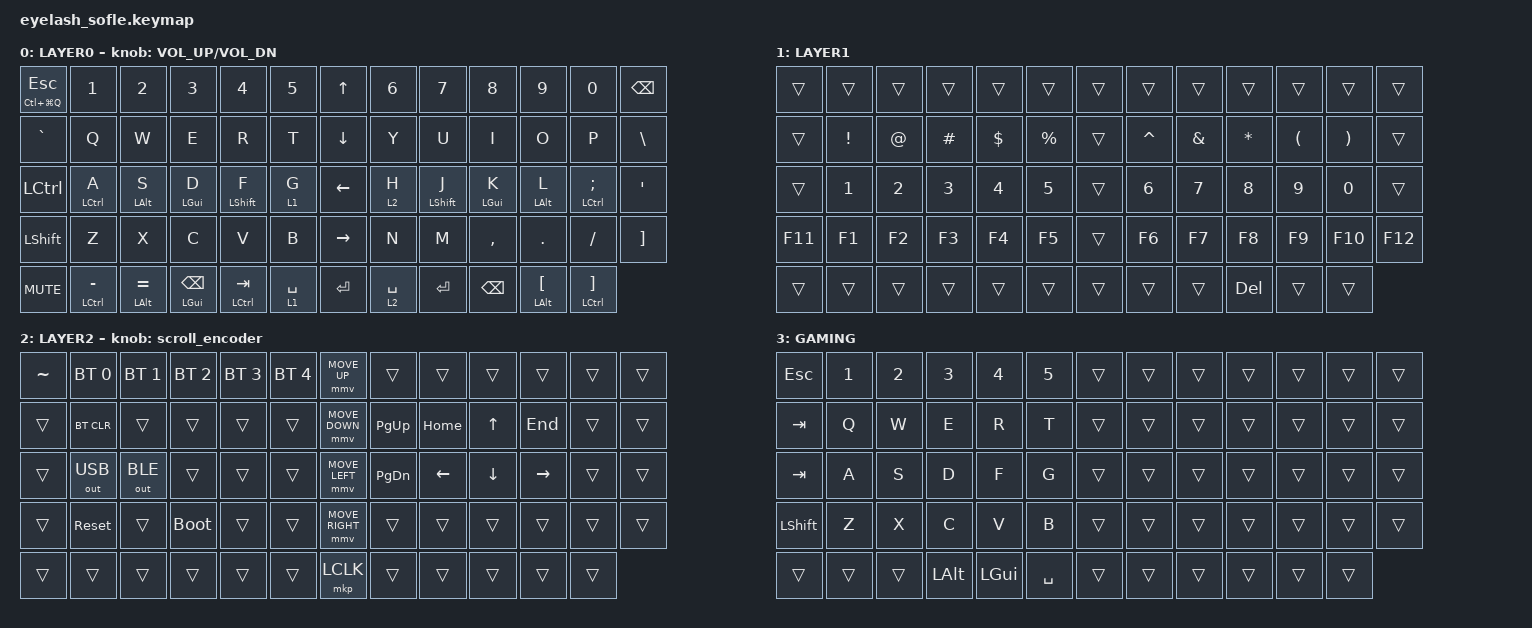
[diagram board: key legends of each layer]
#define ZMK_POINTING_DEFAULT_MOVE_VAL 1200  // 600
#define ZMK_POINTING_DEFAULT_SCRL_VAL 25   // 10

#include <input/processors.dtsi>
#include <zephyr/dt-bindings/input/input-event-codes.h>
#include <behaviors.dtsi>
#include <dt-bindings/zmk/bt.h>
#include <dt-bindings/zmk/keys.h>
#include <dt-bindings/zmk/outputs.h>
#include <dt-bindings/zmk/pointing.h>
#include <dt-bindings/zmk/rgb.h>

&mmv_input_listener { input-processors = <&zip_xy_scaler 2 1>; };

&msc_input_listener { input-processors = <&zip_scroll_scaler 2 1>; };

&msc {
    acceleration-exponent = <1>;      // 0
    time-to-max-speed-ms = <100>;       // 300
    delay-ms = <0>;                   // 0
};

&mmv {
    time-to-max-speed-ms = <500>;
    acceleration-exponent = <1>;
    trigger-period-ms = <16>;
};

/ {
    macros {
        flash_macro: flash_macro {
            compatible = "zmk,behavior-macro";
            #binding-cells = <0>;
            bindings = <&bootloader>;
        };
    };

    behaviors {
        hm: homerow_mods {
            compatible = "zmk,behavior-hold-tap";
            label = "HOMEROW_MODS";
            bindings = <&kp>, <&kp>;

            #binding-cells = <2>;
            tapping-term-ms = <200>;
            quick-tap-ms = <180>;
            flavor = "tap-preferred";
        };

        ltq: ltq {
            compatible = "zmk,behavior-hold-tap";
            label = "LTQ";
            bindings = <&mo>, <&kp>;

            #binding-cells = <2>;
            tapping-term-ms = <200>;
            quick-tap-ms = <180>;
        };

        as: auto_shift {
            compatible = "zmk,behavior-hold-tap";
            label = "AUTO_SHIFT";
            bindings = <&kp>, <&kp>;

            #binding-cells = <2>;
            tapping-term-ms = <135>;
            quick-tap-ms = <0>;
        };

        rgb_encoder: rgb_encoder {
            compatible = "zmk,behavior-sensor-rotate";
            label = "RGB_ENCODER";
            #sensor-binding-cells = <0>;
            bindings = <&rgb_ug RGB_BRI>, <&rgb_ug RGB_BRD>;
        };

        scroll_encoder: scroll_encoder {
            compatible = "zmk,behavior-sensor-rotate";
            #sensor-binding-cells = <0>;
            bindings = <&msc SCRL_UP>, <&msc SCRL_DOWN>;

            tap-ms = <100>;
        };

        td_caps: tap_dance_caps {
            compatible = "zmk,behavior-tap-dance";
            label = "TAP_DANCE_CAPS";
            #binding-cells = <0>;
            tapping-term-ms = <200>;
            bindings = <&kp LSHFT>, <&kp CAPS>;
        };
    };

    combos {
        compatible = "zmk,combos";

        symbol_square_open {
            bindings = <&kp LEFT_BRACKET>;
            key-positions = <17 16>;
        };

        symbol_square_close {
            bindings = <&kp RIGHT_BRACKET>;
            key-positions = <21 22>;
        };

        symbol_paren_open {
            bindings = <&kp LPAR>;
            key-positions = <29 30>;
        };

        symbol_paren_close {
            bindings = <&kp RPAR>;
            key-positions = <34 35>;
        };

        symbol_brace_open {
            bindings = <&kp LBRC>;
            key-positions = <43 42>;
        };

        symbol_brace_close {
            bindings = <&kp RBRC>;
            key-positions = <47 48>;
        };

        layout_left {
            bindings = <&kp LC(SPACE)>;
            key-positions = <30 31>;
        };

        layout_center {
            bindings = <&kp LC(SPACE)>;
            key-positions = <30 34>;
        };

        layout_right {
            bindings = <&kp LC(LA(SPACE))>;
            key-positions = <33 34>;
        };

        caps_home {
            bindings = <&kp CAPSLOCK>;
            key-positions = <31 33>;
        };

        layer_toggle_left {
            bindings = <&tog 1>;
            key-positions = <59 60>;
        };

        layer_toggle_right {
            bindings = <&tog 1>;
            key-positions = <63 62>;
        };

        gaming_toggle {
            bindings = <&tog 3>;
            key-positions = <57 30 29 28 27>;
        };
    };

    keymap {
        compatible = "zmk,keymap";

        layer0 {
            bindings = <
&mt LC(LG(Q)) ESC  &kp N1           &kp N2              &kp N3                  &kp N4            &kp N5         &kp UP_ARROW     &kp N6       &kp N7            &kp N8          &kp N9                     &kp N0                   &kp BACKSPACE
&kp GRAVE          &kp Q            &kp W               &kp E                   &kp R             &kp T          &kp DOWN_ARROW   &kp Y        &kp U             &kp I           &kp O                      &kp P                    &kp BACKSLASH
&kp LCTRL          &hm LCTRL A      &hm LEFT_ALT S      &hm LEFT_GUI D          &hm LEFT_SHIFT F  &lt 1 G        &kp LEFT_ARROW   &lt 2 H      &hm LEFT_SHIFT J  &hm LEFT_GUI K  &hm LEFT_ALT L             &hm LCTRL SEMI           &kp SINGLE_QUOTE
&kp LEFT_SHIFT     &kp Z            &kp X               &kp C                   &kp V             &kp B          &kp RIGHT_ARROW  &kp N        &kp M             &kp COMMA       &kp DOT                    &kp FSLH                 &kp RIGHT_BRACKET
&kp C_MUTE         &mt LCTRL MINUS  &mt LEFT_ALT EQUAL  &mt LEFT_GUI BACKSPACE  &mt LCTRL TAB     &lt 1 SPACE    &kp ENTER        &lt 2 SPACE  &kp ENTER         &kp BACKSPACE   &mt LEFT_ALT LEFT_BRACKET  &mt LCTRL RIGHT_BRACKET
            >;

            sensor-bindings = <&inc_dec_kp C_VOLUME_UP C_VOL_DN>;
            display-name = "LAYER0";
        };

        layer_1 {
            bindings = <
&trans   &trans    &trans  &trans    &trans      &trans         &trans  &trans     &trans         &trans        &trans    &trans    &trans
&trans   &kp EXCL  &kp AT  &kp HASH  &kp DOLLAR  &kp PERCENT    &trans  &kp CARET  &kp AMPERSAND  &kp ASTERISK  &kp LPAR  &kp RPAR  &trans
&trans   &kp N1    &kp N2  &kp N3    &kp N4      &kp N5         &trans  &kp N6     &kp N7         &kp N8        &kp N9    &kp N0    &trans
&kp F11  &kp F1    &kp F2  &kp F3    &kp F4      &kp F5         &trans  &kp F6     &kp F7         &kp F8        &kp F9    &kp F10   &kp F12
&trans   &trans    &trans  &trans    &trans      &trans         &trans  &trans     &trans         &kp DEL       &trans    &trans
            >;

            display-name = "LAYER1";
        };

        layer_2 {
            bindings = <
&kp TILDE  &bt BT_SEL 0  &bt BT_SEL 1  &bt BT_SEL 2  &bt BT_SEL 3  &bt BT_SEL 4    &mmv MOVE_UP     &trans     &trans    &trans    &trans     &trans  &trans
&trans     &bt BT_CLR    &trans        &trans        &trans        &trans          &mmv MOVE_DOWN   &kp PG_UP  &kp HOME  &kp UP    &kp END    &trans  &trans
&trans     &out OUT_USB  &out OUT_BLE  &trans        &trans        &trans          &mmv MOVE_LEFT   &kp PG_DN  &kp LEFT  &kp DOWN  &kp RIGHT  &trans  &trans
&trans     &sys_reset    &trans        &bootloader   &trans        &trans          &mmv MOVE_RIGHT  &trans     &trans    &trans    &trans     &trans  &trans
&trans     &trans        &trans        &trans        &trans        &trans          &mkp LCLK        &trans     &trans    &trans    &trans     &trans
            >;

            display-name = "LAYER2";
            sensor-bindings = <&scroll_encoder>;
        };

        gaming {
            bindings = <
&kp ESC    &kp N1  &kp N2  &kp N3    &kp N4        &kp N5       &trans  &trans  &trans  &trans  &trans  &trans  &trans
&kp TAB    &kp Q   &kp W   &kp E     &kp R         &kp T        &trans  &trans  &trans  &trans  &trans  &trans  &trans
&kp TAB    &kp A   &kp S   &kp D     &kp F         &kp G        &trans  &trans  &trans  &trans  &trans  &trans  &trans
&kp LSHFT  &kp Z   &kp X   &kp C     &kp V         &kp B        &trans  &trans  &trans  &trans  &trans  &trans  &trans
&trans     &trans  &trans  &kp LALT  &kp LEFT_GUI  &kp SPACE    &trans  &trans  &trans  &trans  &trans  &trans
            >;

            display-name = "GAMING";
        };
    };
};
